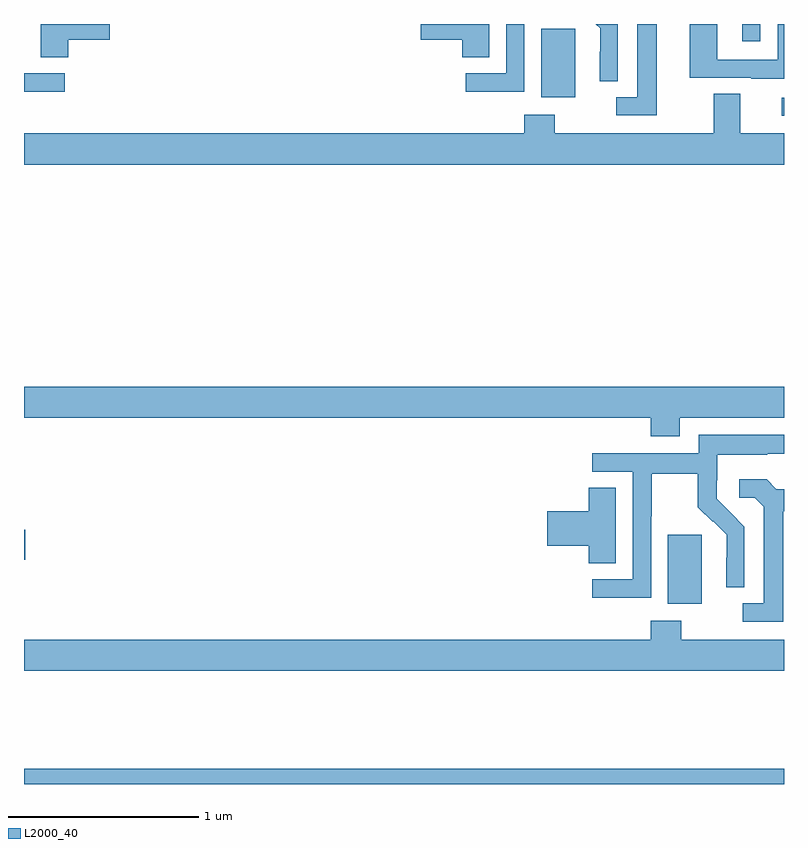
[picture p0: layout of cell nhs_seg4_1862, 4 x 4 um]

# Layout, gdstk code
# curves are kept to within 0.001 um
import gdstk
lib = gdstk.Library(unit=1e-6, precision=1e-09)
def R(c, l, rs):  # rectangles x0, y0, x1, y1
    for r in rs: c.add(gdstk.rectangle(r[:2], r[2:], *l))
def P(c, l, *ps):  # polygons
    for p in ps: c.add(gdstk.Polygon(p, *l))
L2000_40 = (2000, 40)

nhs_seg4_1862 = lib.new_cell('nhs_seg4_1862')
R(nhs_seg4_1862, L2000_40, [(207,786.9,211,786.98), (210.389,787.85,210.568,788.211), (207,788.081,207.007,788.239), (210.987,790.416,211,790.512), (209.723,790.514,209.902,790.875), (207,790.543,207.214,790.641), (210.779,790.809,210.876,790.9)])
P(nhs_seg4_1862, L2000_40, [(211,790.9),(210.966,790.9),(210.966,790.713),(210.648,790.713),(210.648,790.9),(210.503,790.9),(210.503,790.617),(210.827,790.617),(210.827,790.613),(211,790.613)],
  [(209.634,790.9),(209.538,790.9),(209.538,790.641),(209.325,790.641),(209.325,790.543),(209.634,790.543)],
  [(210.126,790.9),(210.009,790.9),(210.032,790.877),(210.032,790.754),(210.03,790.754),(210.03,790.6),(210.126,790.6)],
  [(210.331,790.9),(210.227,790.9),(210.227,790.515),(210.117,790.515),(210.117,790.419),(210.331,790.419)],
  [(207.233,790.817),(207.451,790.817),(207.451,790.9),(207.089,790.9),(207.089,790.726),(207.233,790.726)],
  [(209.449,790.9),(209.088,790.9),(209.088,790.817),(209.306,790.817),(209.306,790.726),(209.449,790.726)],
  [(210.629,790.532),(210.629,790.324),(209.793,790.324),(209.793,790.423),(209.633,790.423),(209.633,790.324),(207,790.324),(207,790.16),(211,790.16),(211,790.324),(210.769,790.324),(210.769,790.532)],
  [(210.451,788.828),(211,788.828),(211,788.992),(207,788.992),(207,788.828),(210.299,788.828),(210.299,788.729),(210.451,788.729)],
  [(210.3,788.308),(210.303,788.308),(210.303,788.532),(210.547,788.532),(210.547,788.357),(210.624,788.28),(210.627,788.283),(210.698,788.213),(210.698,788.09),(210.696,788.09),(210.696,787.936),(210.792,787.936),(210.792,788.254),(210.646,788.402),(210.646,788.499),(210.648,788.499),(210.648,788.633),(210.911,788.633),(210.911,788.637),(211,788.637),(211,788.737),(210.552,788.737),(210.552,788.64),(209.991,788.64),(209.991,788.544),(210.204,788.544),(210.204,787.977),(209.991,787.977),(209.991,787.879),(210.3,787.879)],
  [(210.997,788.336),(211,788.336),(211,788.451),(210.96,788.451),(210.908,788.503),(210.765,788.503),(210.765,788.406),(210.846,788.406),(210.893,788.359),(210.893,787.851),(210.783,787.851),(210.783,787.755),(210.997,787.755)],
  [(210.115,788.459),(209.972,788.459),(209.972,788.336),(209.754,788.336),(209.754,788.153),(209.972,788.153),(209.972,788.062),(210.115,788.062)],
  [(211,787.66),(210.459,787.66),(210.459,787.759),(210.299,787.759),(210.299,787.66),(207,787.66),(207,787.496),(211,787.496)])

lib.write_gds('nhs_seg4_1862.gds')
